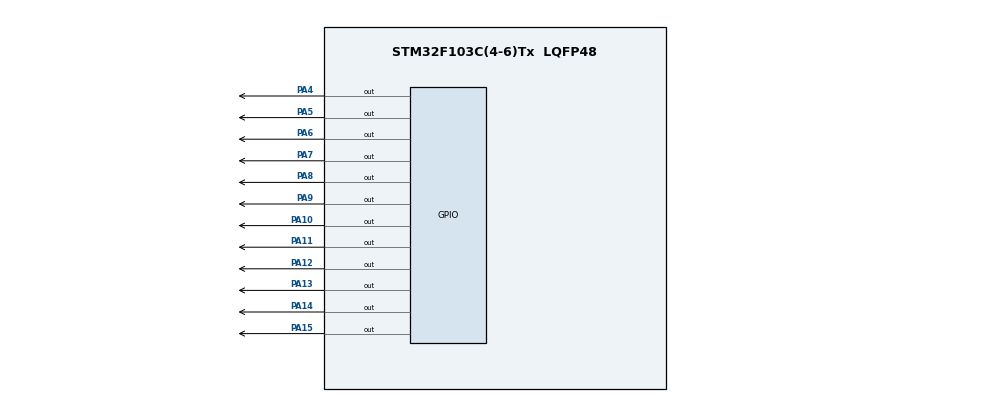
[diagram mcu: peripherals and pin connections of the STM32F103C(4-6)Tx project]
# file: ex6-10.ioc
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Mcu.Family=STM32F1
Mcu.Name=STM32F103C(4-6)Tx
Mcu.Package=LQFP48
NVIC.PriorityGroup=NVIC_PRIORITYGROUP_4
PA10.Signal=GPIO_Output
PA11.Signal=GPIO_Output
PA12.Signal=GPIO_Output
PA13.Signal=GPIO_Output
PA14.Signal=GPIO_Output
PA15.Signal=GPIO_Output
PA4.Signal=GPIO_Output
PA5.Signal=GPIO_Output
PA6.Signal=GPIO_Output
PA7.Signal=GPIO_Output
PA8.Signal=GPIO_Output
PA9.Signal=GPIO_Output
ProjectManager.HeapSize=0x200
ProjectManager.StackSize=0x400
ProjectManager.TargetToolchain=STM32CubeIDE
RCC.APB1Freq_Value=8000000
RCC.APB2Freq_Value=8000000
VP_SYS_VS_ND.Mode=No_Debug
board=custom

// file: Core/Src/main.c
/* USER CODE BEGIN Header */
/**
  ******************************************************************************
  * @file           : main.c
  * @brief          : Main program body
  ******************************************************************************
  * @attention
  *
  * <h2><center>&copy; Copyright (c) 2021 STMicroelectronics.
  * All rights reserved.</center></h2>
  *
  * This software component is licensed by ST under BSD 3-Clause license,
  * the "License"; You may not use this file except in compliance with the
  * License. You may obtain a copy of the License at:
  *                        opensource.org/licenses/BSD-3-Clause
  *
  ******************************************************************************
  */
/* USER CODE END Header */
#include "main.h"
#include "led.h"

void SystemClock_Config(void);
static void MX_GPIO_Init(void);

int main(void)
{
  /* USER CODE BEGIN 1 */
	  int hour = 0;
	  int sec = 0;
	  int minute = 0;

  /* USER CODE END 1 */

  /* MCU Configuration--------------------------------------------------------*/

  /* Reset of all peripherals, Initializes the Flash interface and the Systick. */
  HAL_Init();

  /* Configure the system clock */
  SystemClock_Config();

  /* Initialize all configured peripherals */
  MX_GPIO_Init();
  /* USER CODE BEGIN 2 */
  clearAllClock();

  /* USER CODE END 2 */

  /* Infinite loop */
  /* USER CODE BEGIN WHILE */
  //int count_sec = 0;
  while (1)
  {
//	  if(sec > 60){
//		  clearNumberOnClock(minute/5);
//		  sec=0;
//		  minute++;
//		  setNumberOnClock(minute/5);
//	  }
//
////	  if (count_sec == 5){
////		  minute++;
////		  count_sec = 0;
////	  }
//	  else 	  Clock(hour,minute,sec);
//	  if (minute > 11){
//		  clearNumberOnClock(hour);
//		  hour++;
//		  minute = 0;
//	  }
//	  if(hour >11){
//		  hour = 0;
//	  }

	  sec++;
	  if (sec>=60) {
		  minute++;
		  sec=0;
	  }

	  if (minute >= 60){
		  hour++;
		  minute=0;
	  }

	  HAL_Delay(1000);
	  clearAllClock();
	  setNumberOnClock(minute/5);
	  setNumberOnClock(sec/5);
	  setNumberOnClock(hour);
	  //sec++;
    /* USER CODE END WHILE */

  }
}

void SystemClock_Config(void)
{
  RCC_OscInitTypeDef RCC_OscInitStruct = {0};
  RCC_ClkInitTypeDef RCC_ClkInitStruct = {0};

  /** Initializes the RCC Oscillators according to the specified parameters
  * in the RCC_OscInitTypeDef structure.
  */
  RCC_OscInitStruct.OscillatorType = RCC_OSCILLATORTYPE_HSI;
  RCC_OscInitStruct.HSIState = RCC_HSI_ON;
  RCC_OscInitStruct.HSICalibrationValue = RCC_HSICALIBRATION_DEFAULT;
  RCC_OscInitStruct.PLL.PLLState = RCC_PLL_NONE;
  if (HAL_RCC_OscConfig(&RCC_OscInitStruct) != HAL_OK)
  {
    Error_Handler();
  }
  /** Initializes the CPU, AHB and APB buses clocks
  */
  RCC_ClkInitStruct.ClockType = RCC_CLOCKTYPE_HCLK|RCC_CLOCKTYPE_SYSCLK
                              |RCC_CLOCKTYPE_PCLK1|RCC_CLOCKTYPE_PCLK2;
  RCC_ClkInitStruct.SYSCLKSource = RCC_SYSCLKSOURCE_HSI;
  RCC_ClkInitStruct.AHBCLKDivider = RCC_SYSCLK_DIV1;
  RCC_ClkInitStruct.APB1CLKDivider = RCC_HCLK_DIV1;
  RCC_ClkInitStruct.APB2CLKDivider = RCC_HCLK_DIV1;

  if (HAL_RCC_ClockConfig(&RCC_ClkInitStruct, FLASH_LATENCY_0) != HAL_OK)
  {
    Error_Handler();
  }
}

static void MX_GPIO_Init(void)
{
  GPIO_InitTypeDef GPIO_InitStruct = {0};

  /* GPIO Ports Clock Enable */
  __HAL_RCC_GPIOA_CLK_ENABLE();

  /*Configure GPIO pin Output Level */
  HAL_GPIO_WritePin(GPIOA, GPIO_PIN_4|GPIO_PIN_5|GPIO_PIN_6|GPIO_PIN_7
                          |GPIO_PIN_8|GPIO_PIN_9|GPIO_PIN_10|GPIO_PIN_11
                          |GPIO_PIN_12|GPIO_PIN_13|GPIO_PIN_14|GPIO_PIN_15, GPIO_PIN_RESET);

  /*Configure GPIO pins : PA4 PA5 PA6 PA7
                           PA8 PA9 PA10 PA11
                           PA12 PA13 PA14 PA15 */
  GPIO_InitStruct.Pin = GPIO_PIN_4|GPIO_PIN_5|GPIO_PIN_6|GPIO_PIN_7
                          |GPIO_PIN_8|GPIO_PIN_9|GPIO_PIN_10|GPIO_PIN_11
                          |GPIO_PIN_12|GPIO_PIN_13|GPIO_PIN_14|GPIO_PIN_15;
  GPIO_InitStruct.Mode = GPIO_MODE_OUTPUT_PP;
  GPIO_InitStruct.Pull = GPIO_NOPULL;
  GPIO_InitStruct.Speed = GPIO_SPEED_FREQ_LOW;
  HAL_GPIO_Init(GPIOA, &GPIO_InitStruct);

}

void Error_Handler(void)
{
  __disable_irq();
  while (1)
  {
  }
}

/************************ (C) COPYRIGHT STMicroelectronics *****END OF FILE****/
